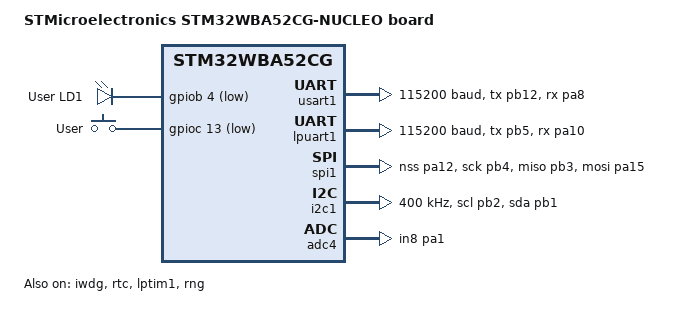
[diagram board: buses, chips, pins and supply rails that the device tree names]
/*
 * Copyright (c)  2023 STMicroelectronics
 *
 * SPDX-License-Identifier: Apache-2.0
 */

/dts-v1/;
#include <st/wba/stm32wba52Xg.dtsi>
#include <st/wba/stm32wba52cgux-pinctrl.dtsi>
#include "arduino_r3_connector.dtsi"
#include <zephyr/dt-bindings/input/input-event-codes.h>

/ {
	model = "STMicroelectronics STM32WBA52CG-NUCLEO board";
	compatible = "st,stm32wba52cg-nucleo";

	#address-cells = <1>;
	#size-cells = <1>;

	chosen {
		zephyr,console = &usart1;
		zephyr,shell-uart = &usart1;
		zephyr,sram = &sram0;
		zephyr,flash = &flash0;
		zephyr,code-partition = &slot0_partition;
	};

	leds: leds {
		compatible = "gpio-leds";
		blue_led_1: led_1 {
			gpios = <&gpiob 4 GPIO_ACTIVE_LOW>;
			label = "User LD1";
		};
	};

	gpio_keys {
		compatible = "gpio-keys";
		user_button: button {
			label = "User";
			gpios = <&gpioc 13 GPIO_ACTIVE_LOW>;
			zephyr,code = <INPUT_KEY_0>;
		};
	};

	aliases {
		led0 = &blue_led_1;
		sw0 = &user_button;
	};
};

&clk_lsi {
	status = "okay";
};

&clk_lse {
	status = "okay";
};

&clk_hse {
	status = "okay";
};

&clk_hsi {
	status = "okay";
};

&pll1 {
	div-m = <8>;
	mul-n = <48>;
	div-q = <2>;
	div-r = <2>;
	clocks = <&clk_hse>;
	status = "okay";
};

&rcc {
	clocks = <&pll1>;
	clock-frequency = <DT_FREQ_M(96)>;
	ahb-prescaler = <1>;
	ahb5-prescaler = <4>;
	apb1-prescaler = <1>;
	apb2-prescaler = <1>;
	apb7-prescaler = <1>;
};

&iwdg {
	status = "okay";
};

&rtc {
	status = "okay";
	clocks = <&rcc STM32_CLOCK_BUS_APB7 0x00200000>,
			<&rcc STM32_SRC_LSE RTC_SEL(1)>;
	prescaler = <32768>;
};

&usart1 {
	pinctrl-0 = <&usart1_tx_pb12 &usart1_rx_pa8>;
	pinctrl-names = "default";
	current-speed = <115200>;
	status = "okay";
};

&lpuart1 {
	pinctrl-0 = <&lpuart1_tx_pb5 &lpuart1_rx_pa10>;
	pinctrl-names = "default";
	current-speed = <115200>;
	status = "okay";
};

&spi1 {
	pinctrl-0 = <&spi1_nss_pa12 &spi1_sck_pb4
		     &spi1_miso_pb3 &spi1_mosi_pa15>;
	pinctrl-names = "default";
	status = "okay";
};

&i2c1 {
	pinctrl-0 = <&i2c1_scl_pb2 &i2c1_sda_pb1>;
	pinctrl-names = "default";
	status = "okay";
	clock-frequency = <I2C_BITRATE_FAST>;
};

&adc4 {
	pinctrl-0 = <&adc4_in8_pa1>;
	pinctrl-names = "default";
	st,adc-clock-source = <ASYNC>;
	st,adc-prescaler = <4>;
	status = "okay";
};

stm32_lp_tick_source: &lptim1 {
	clocks = <&rcc STM32_CLOCK_BUS_APB7 0x00000800>,
		 <&rcc STM32_SRC_LSE LPTIM1_SEL(3)>;
	status = "okay";
};

&rng {
	status = "okay";
};

&flash0 {
	partitions {
		compatible = "fixed-partitions";
		#address-cells = <1>;
		#size-cells = <1>;

		boot_partition: partition@0 {
			label = "mcuboot";
			reg = <0x00000000 DT_SIZE_K(64)>;
		};
		slot0_partition: partition@10000 {
			label = "image-0";
			reg = <0x00010000 DT_SIZE_K(448)>;
		};
		slot1_partition: partition@80000 {
			label = "image-1";
			reg = <0x00080000 DT_SIZE_K(448)>;
		};
		scratch_partition: partition@f0000 {
			label = "image-scratch";
			reg = <0x000f0000 DT_SIZE_K(16)>;
		};
		storage_partition: partition@f4000 {
			label = "storage";
			reg = <0x000f4000 DT_SIZE_K(48)>;
		};
	};
};
